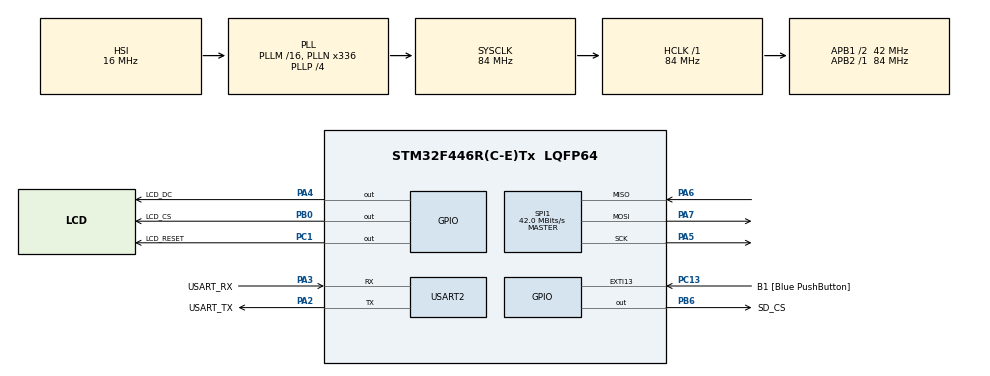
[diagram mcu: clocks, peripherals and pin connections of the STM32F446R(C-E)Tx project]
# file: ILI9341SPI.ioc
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Mcu.Family=STM32F4
Mcu.Name=STM32F446R(C-E)Tx
Mcu.Package=LQFP64
NVIC.PriorityGroup=NVIC_PRIORITYGROUP_0
PA13.GPIO_Label=TMS
PA13.Mode=Serial_Wire
PA13.Signal=SYS_JTMS-SWDIO
PA14.GPIO_Label=TCK
PA14.Mode=Serial_Wire
PA14.Signal=SYS_JTCK-SWCLK
PA2.GPIO_Label=USART_TX
PA2.Mode=Asynchronous
PA2.Signal=USART2_TX
PA3.GPIO_Label=USART_RX
PA3.Mode=Asynchronous
PA3.Signal=USART2_RX
PA4.GPIO_Label=LCD_DC
PA4.GPIO_Speed=GPIO_SPEED_FREQ_MEDIUM
PA4.Signal=GPIO_Output
PA5.Mode=Full_Duplex_Master
PA5.Signal=SPI1_SCK
PA6.Mode=Full_Duplex_Master
PA6.Signal=SPI1_MISO
PA7.Mode=Full_Duplex_Master
PA7.Signal=SPI1_MOSI
PB0.GPIO_Label=LCD_CS
PB0.GPIO_Speed=GPIO_SPEED_FREQ_MEDIUM
PB0.Signal=GPIO_Output
PB3.GPIO_Label=SWO
PB3.Signal=SYS_JTDO-SWO
PB6.GPIO_Label=SD_CS
PB6.GPIO_Speed=GPIO_SPEED_FREQ_MEDIUM
PB6.Signal=GPIO_Output
PC1.GPIO_Label=LCD_RESET
PC1.GPIO_Speed=GPIO_SPEED_FREQ_MEDIUM
PC1.Signal=GPIO_Output
PC13.GPIO_Label=B1 [Blue PushButton]
PC13.GPIO_ModeDefaultEXTI=GPIO_MODE_IT_FALLING
PC13.Signal=GPXTI13
PC14-OSC32_IN.Mode=LSE-External-Oscillator
PC14-OSC32_IN.Signal=RCC_OSC32_IN
PC15-OSC32_OUT.Mode=LSE-External-Oscillator
PC15-OSC32_OUT.Signal=RCC_OSC32_OUT
PH0-OSC_IN.Mode=HSE-External-Oscillator
PH0-OSC_IN.Signal=RCC_OSC_IN
PH1-OSC_OUT.Mode=HSE-External-Oscillator
PH1-OSC_OUT.Signal=RCC_OSC_OUT
ProjectManager.HeapSize=0x200
ProjectManager.StackSize=0x400
ProjectManager.TargetToolchain=STM32CubeIDE
RCC.48MHZClocksFreq_Value=84000000
RCC.AHBFreq_Value=84000000
RCC.APB1CLKDivider=RCC_HCLK_DIV2
RCC.APB1Freq_Value=42000000
RCC.APB1TimFreq_Value=84000000
RCC.APB2Freq_Value=84000000
RCC.APB2TimFreq_Value=84000000
RCC.CortexFreq_Value=84000000
RCC.FLatency-AdvancedSettings=FLASH_LATENCY_2
RCC.HCLKFreq_Value=84000000
RCC.HSE_VALUE=8000000
RCC.HSI_VALUE=16000000
RCC.PLLN=336
RCC.PLLP=RCC_PLLP_DIV4
RCC.SYSCLKFreq_VALUE=84000000
RCC.SYSCLKSource=RCC_SYSCLKSOURCE_PLLCLK
RCC.USBFreq_Value=168000000
RCC.VCOOutputFreq_Value=336000000
SPI1.BaudRatePrescaler=SPI_BAUDRATEPRESCALER_2
SPI1.CalculateBaudRate=42.0 MBits/s
SPI1.Direction=SPI_DIRECTION_2LINES
SPI1.Mode=SPI_MODE_MASTER
SPI1.VirtualType=VM_MASTER
USART2.VirtualMode=VM_ASYNC
board=NUCLEO-F446RE

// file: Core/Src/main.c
/* USER CODE BEGIN Header */
/**
 ******************************************************************************
 * @file           : main.c
 * @brief          : Main program body
 ******************************************************************************
 * @attention
 *
 * Copyright (c) 2024 STMicroelectronics.
 * All rights reserved.
 *
 * This software is licensed under terms that can be found in the LICENSE file
 * in the root directory of this software component.
 * If no LICENSE file comes with this software, it is provided AS-IS.
 *
 ******************************************************************************
 */
/* USER CODE END Header */
#include "main.h"

/* USER CODE BEGIN Includes */
#include "ili9341.h"
#include "bitmaps.h"
/* USER CODE END Includes */

SPI_HandleTypeDef hspi1;

UART_HandleTypeDef huart2;

/* USER CODE BEGIN PV */
extern const uint16_t fondo[];
ILI9341_t lcd;
/* USER CODE END PV */

void SystemClock_Config(void);
static void MX_GPIO_Init(void);
static void MX_USART2_UART_Init(void);
static void MX_SPI1_Init(void);

int main(void)
{

  /* USER CODE BEGIN 1 */
  ILI9341_Config lcd_config;
  uint8_t demo_initialized = 0U;
  int16_t sprite_x = 0;
  int8_t sprite_direction = 1;
  uint32_t last_animation_ms = 0U;

  /* USER CODE END 1 */

  /* MCU Configuration--------------------------------------------------------*/

  /* Reset of all peripherals, Initializes the Flash interface and the Systick. */
  HAL_Init();

  /* Configure the system clock */
  SystemClock_Config();

  /* Initialize all configured peripherals */
  MX_GPIO_Init();
  MX_USART2_UART_Init();
  MX_SPI1_Init();
  /* USER CODE BEGIN 2 */
  lcd_config.spi = &hspi1;
  lcd_config.reset_port = LCD_RESET_GPIO_Port;
  lcd_config.reset_pin = LCD_RESET_Pin;
  lcd_config.dc_port = LCD_DC_GPIO_Port;
  lcd_config.dc_pin = LCD_DC_Pin;
  lcd_config.cs_port = LCD_CS_GPIO_Port;
  lcd_config.cs_pin = LCD_CS_Pin;
  lcd_config.memory_access_control = 0xE8U;

  ILI9341_BeginInit(&lcd, &lcd_config, HAL_GetTick());
  /* USER CODE END 2 */

  /* Infinite loop */
  /* USER CODE BEGIN WHILE */
  while (1) {

    if (ILI9341_UpdateInit(&lcd, HAL_GetTick()) == 0U) {
      continue;
	}

    if (demo_initialized == 0U) {
      ILI9341_Clear(&lcd, 0x0000U);
      ILI9341_FillRect(&lcd, 0U, 0U, 319U, 239U, 0xFFFFU);
      ILI9341_FillRect(&lcd, 50U, 60U, 20U, 20U, 0xF800U);
      ILI9341_FillRect(&lcd, 70U, 60U, 20U, 20U, 0x07E0U);
      ILI9341_FillRect(&lcd, 90U, 60U, 20U, 20U, 0x001FU);
      ILI9341_DrawBitmap(&lcd, 0U, 0U, 320U, 240U, fondo);
      ILI9341_DrawText(&lcd, "Hola Mundo", 20U, 100U, 2U, 0x001FU, 0xCAB9U);

      for (uint16_t x = 0U; x < 319U; x += 16U) {
        ILI9341_DrawBitmap(&lcd, x, 116U, 15U, 15U, tile);
        ILI9341_DrawBitmap(&lcd, x, 68U, 15U, 15U, tile);
        ILI9341_DrawBitmap(&lcd, x, 207U, 15U, 15U, tile);
        ILI9341_DrawBitmap(&lcd, x, 223U, 15U, 15U, tile);
		}

      demo_initialized = 1U;
      last_animation_ms = HAL_GetTick();
      continue;
	}

    if ((HAL_GetTick() - last_animation_ms) < 15U) {
      continue;
	}

    last_animation_ms = HAL_GetTick();
    ILI9341_DrawSprite(&lcd, sprite_x, 100, 24U, 30U, sonics,
                        4U, (uint16_t)((sprite_x / 10) % 4),
                        sprite_direction < 0 ? 1U : 0U, 0);

    if (sprite_direction > 0) {
      if (sprite_x > 0) {
        ILI9341_DrawVLine(&lcd, (uint16_t)(sprite_x - 1), 100U, 30U, 0x0DFEU);
		}
      sprite_x++;
      if (sprite_x >= 295) {
        sprite_direction = -1;
		}
	} else {
      ILI9341_DrawVLine(&lcd, (uint16_t)(sprite_x + 24), 100U, 30U, 0x0DFEU);
      sprite_x--;
      if (sprite_x <= 0) {
        sprite_direction = 1;
		}
	}
    /* USER CODE END WHILE */

	}
}

void SystemClock_Config(void)
{
  RCC_OscInitTypeDef RCC_OscInitStruct = {0};
  RCC_ClkInitTypeDef RCC_ClkInitStruct = {0};

  /** Configure the main internal regulator output voltage
  */
  __HAL_RCC_PWR_CLK_ENABLE();
  __HAL_PWR_VOLTAGESCALING_CONFIG(PWR_REGULATOR_VOLTAGE_SCALE3);

  /** Initializes the RCC Oscillators according to the specified parameters
  * in the RCC_OscInitTypeDef structure.
  */
  RCC_OscInitStruct.OscillatorType = RCC_OSCILLATORTYPE_HSI;
  RCC_OscInitStruct.HSIState = RCC_HSI_ON;
  RCC_OscInitStruct.HSICalibrationValue = RCC_HSICALIBRATION_DEFAULT;
  RCC_OscInitStruct.PLL.PLLState = RCC_PLL_ON;
  RCC_OscInitStruct.PLL.PLLSource = RCC_PLLSOURCE_HSI;
  RCC_OscInitStruct.PLL.PLLM = 16;
  RCC_OscInitStruct.PLL.PLLN = 336;
  RCC_OscInitStruct.PLL.PLLP = RCC_PLLP_DIV4;
  RCC_OscInitStruct.PLL.PLLQ = 2;
  RCC_OscInitStruct.PLL.PLLR = 2;
  if (HAL_RCC_OscConfig(&RCC_OscInitStruct) != HAL_OK)
  {
    Error_Handler();
  }

  /** Initializes the CPU, AHB and APB buses clocks
  */
  RCC_ClkInitStruct.ClockType = RCC_CLOCKTYPE_HCLK|RCC_CLOCKTYPE_SYSCLK
                              |RCC_CLOCKTYPE_PCLK1|RCC_CLOCKTYPE_PCLK2;
  RCC_ClkInitStruct.SYSCLKSource = RCC_SYSCLKSOURCE_PLLCLK;
  RCC_ClkInitStruct.AHBCLKDivider = RCC_SYSCLK_DIV1;
  RCC_ClkInitStruct.APB1CLKDivider = RCC_HCLK_DIV2;
  RCC_ClkInitStruct.APB2CLKDivider = RCC_HCLK_DIV1;

  if (HAL_RCC_ClockConfig(&RCC_ClkInitStruct, FLASH_LATENCY_2) != HAL_OK)
  {
    Error_Handler();
  }
}

static void MX_SPI1_Init(void)
{

  /* SPI1 parameter configuration*/
  hspi1.Instance = SPI1;
  hspi1.Init.Mode = SPI_MODE_MASTER;
  hspi1.Init.Direction = SPI_DIRECTION_2LINES;
  hspi1.Init.DataSize = SPI_DATASIZE_8BIT;
  hspi1.Init.CLKPolarity = SPI_POLARITY_LOW;
  hspi1.Init.CLKPhase = SPI_PHASE_1EDGE;
  hspi1.Init.NSS = SPI_NSS_SOFT;
  hspi1.Init.BaudRatePrescaler = SPI_BAUDRATEPRESCALER_2;
  hspi1.Init.FirstBit = SPI_FIRSTBIT_MSB;
  hspi1.Init.TIMode = SPI_TIMODE_DISABLE;
  hspi1.Init.CRCCalculation = SPI_CRCCALCULATION_DISABLE;
  hspi1.Init.CRCPolynomial = 10;
  if (HAL_SPI_Init(&hspi1) != HAL_OK)
  {
    Error_Handler();
  }

}

static void MX_USART2_UART_Init(void)
{

  huart2.Instance = USART2;
  huart2.Init.BaudRate = 115200;
  huart2.Init.WordLength = UART_WORDLENGTH_8B;
  huart2.Init.StopBits = UART_STOPBITS_1;
  huart2.Init.Parity = UART_PARITY_NONE;
  huart2.Init.Mode = UART_MODE_TX_RX;
  huart2.Init.HwFlowCtl = UART_HWCONTROL_NONE;
  huart2.Init.OverSampling = UART_OVERSAMPLING_16;
  if (HAL_UART_Init(&huart2) != HAL_OK)
  {
    Error_Handler();
  }

}

static void MX_GPIO_Init(void)
{
  GPIO_InitTypeDef GPIO_InitStruct = {0};

  /* GPIO Ports Clock Enable */
  __HAL_RCC_GPIOC_CLK_ENABLE();
  __HAL_RCC_GPIOH_CLK_ENABLE();
  __HAL_RCC_GPIOA_CLK_ENABLE();
  __HAL_RCC_GPIOB_CLK_ENABLE();

  /*Configure GPIO pin Output Level */
  HAL_GPIO_WritePin(LCD_RESET_GPIO_Port, LCD_RESET_Pin, GPIO_PIN_RESET);

  /*Configure GPIO pin Output Level */
  HAL_GPIO_WritePin(LCD_DC_GPIO_Port, LCD_DC_Pin, GPIO_PIN_RESET);

  /*Configure GPIO pin Output Level */
  HAL_GPIO_WritePin(GPIOB, LCD_CS_Pin|SD_CS_Pin, GPIO_PIN_RESET);

  /*Configure GPIO pin : B1_Pin */
  GPIO_InitStruct.Pin = B1_Pin;
  GPIO_InitStruct.Mode = GPIO_MODE_IT_FALLING;
  GPIO_InitStruct.Pull = GPIO_NOPULL;
  HAL_GPIO_Init(B1_GPIO_Port, &GPIO_InitStruct);

  /*Configure GPIO pin : LCD_RESET_Pin */
  GPIO_InitStruct.Pin = LCD_RESET_Pin;
  GPIO_InitStruct.Mode = GPIO_MODE_OUTPUT_PP;
  GPIO_InitStruct.Pull = GPIO_NOPULL;
  GPIO_InitStruct.Speed = GPIO_SPEED_FREQ_MEDIUM;
  HAL_GPIO_Init(LCD_RESET_GPIO_Port, &GPIO_InitStruct);

  /*Configure GPIO pin : LCD_DC_Pin */
  GPIO_InitStruct.Pin = LCD_DC_Pin;
  GPIO_InitStruct.Mode = GPIO_MODE_OUTPUT_PP;
  GPIO_InitStruct.Pull = GPIO_NOPULL;
  GPIO_InitStruct.Speed = GPIO_SPEED_FREQ_MEDIUM;
  HAL_GPIO_Init(LCD_DC_GPIO_Port, &GPIO_InitStruct);

  /*Configure GPIO pins : LCD_CS_Pin SD_CS_Pin */
  GPIO_InitStruct.Pin = LCD_CS_Pin|SD_CS_Pin;
  GPIO_InitStruct.Mode = GPIO_MODE_OUTPUT_PP;
  GPIO_InitStruct.Pull = GPIO_NOPULL;
  GPIO_InitStruct.Speed = GPIO_SPEED_FREQ_MEDIUM;
  HAL_GPIO_Init(GPIOB, &GPIO_InitStruct);

}

void Error_Handler(void)
{
	__disable_irq();
	while (1) {
	}
}
